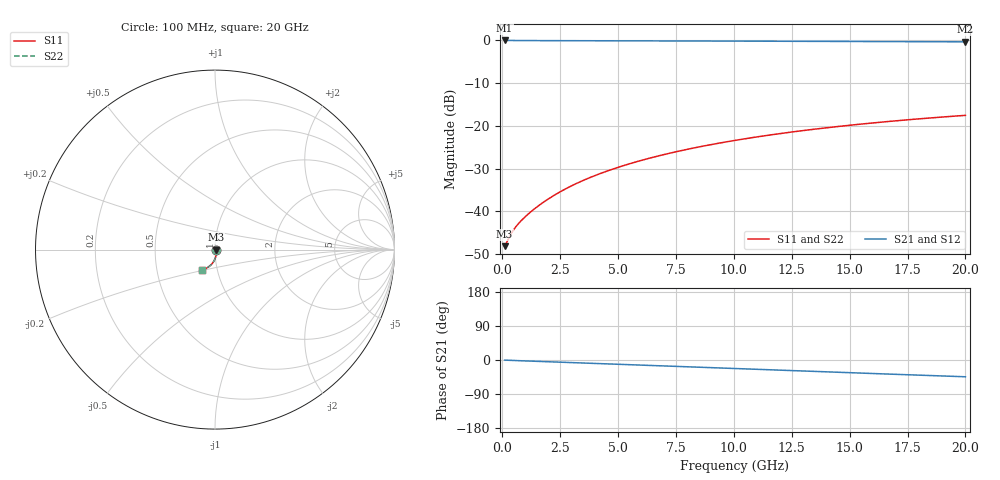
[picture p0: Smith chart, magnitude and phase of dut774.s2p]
! Touchstone file exported from HFSS 2026.1.0
!  File:  C:/ffzhzh/LocalFiles/Ansys_Project_Files/temp_train_TMRDL_774_1783155655_51560.aedt
!  Generated:  05:02:18 PM Jul  4, 2026
!  Design:  TMRDL
!  Project:  temp_train_TMRDL_774_1783155655_51560
! Variables:
!  h_bsmrdl = 2um
!  h_ox = 20um
!  h_rdl = 5um
!  h_sub = 80um
!  h_tmrdl = 3.14um
!  h_tsv = 80um
!  h_via = 3um
!  l_bsmrdl = 300um
!  l_sub = 1174.85um
!  l_tmrdl = 774.85um
!  m_sub = 200um
!  pitch = 26.91um
!  r_tsv = 6um
!  s_tmrdl = 10um
!  w_bsmrdl = 18um
!  w_sub = 500um
!  w_tmrdl = 24.61um
!  x_tsv_center1 = 787.155um
!  x_tsv_center2 = 1105.155um
!  x_tsv_center3 = 1904.615um
!  x_tsv_center4 = 2222.615um
!  x_tsv_center5 = 3022.075um
!  x_tsv_center6 = 3340.075um
# GHz S MA R 50.000000
! Terminal data exported
! Port[1] = TM_RDL1_1_T1
! Port[2] = TM_RDL1_1_T2
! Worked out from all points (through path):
!   200 points, 100 MHz to 20 GHz, reference 50 ohm
!   highest |S21| = -0.03 dB at 100 MHz (marker M1); lowest = -0.4 dB at 20 GHz (marker M2)
!   group delay of S21, straight-line fit = 6.13 ps
!   lowest |S11| = -48.1 dB at 100 MHz (marker M3), VSWR 1.01, Z = 50.4 + j0.03 ohm
!   |S11| at or under -10 dB: start of sweep to end of sweep
!   |S22| runs from -48.1 to -17.5 dB; largest |S21 - S12| = 4.4e-15
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0.1  0.003922 4.4  0.9961 -0.3  0.9961 -0.3  0.003922 4.4
! Gamma 0 0 0 0
! Port Impedance 50 0 50 0
0.4  0.005582 -1.1  0.9944 -1.1  0.9944 -1.1  0.005582 -1.1
0.5  0.006153 -6.1  0.9939 -1.3  0.9939 -1.3  0.006153 -6.1
0.6  0.006692 -11.3  0.9934 -1.5  0.9934 -1.5  0.006693 -11.3
0.7  0.007209 -16.3  0.993 -1.7  0.993 -1.7  0.00721 -16.3
0.9  0.008212 -25.3  0.9924 -2.2  0.9924 -2.2  0.008214 -25.3
1.2  0.009723 -36.3  0.9919 -2.9  0.9919 -2.9  0.009725 -36.3
1.7  0.01237 -49.3  0.9912 -4.0  0.9912 -4.0  0.01238 -49.3
2.2  0.01519 -58.0  0.9907 -5.1  0.9907 -5.1  0.0152 -58.0
2.8  0.01874 -65.2  0.9901 -6.5  0.9901 -6.5  0.01875 -65.2
3.5  0.02305 -71.2  0.9893 -8.1  0.9893 -8.1  0.02307 -71.1
4.2  0.02751 -75.6  0.9884 -9.7  0.9884 -9.7  0.02752 -75.6
5  0.03274 -79.7  0.9873 -11.5  0.9873 -11.5  0.03276 -79.6
5.9  0.03877 -83.5  0.9859 -13.5  0.9859 -13.5  0.03879 -83.4
6.8  0.04492 -86.8  0.9844 -15.5  0.9844 -15.5  0.04495 -86.7
8.4  0.05605 -92.0  0.9816 -19.1  0.9816 -19.1  0.05609 -91.9
10.1  0.06799 -97.0  0.9785 -22.8  0.9785 -22.8  0.06804 -96.9
11.7  0.07918 -101.4  0.9756 -26.3  0.9756 -26.3  0.07925 -101.3
13.4  0.09088 -106.0  0.9724 -30.0  0.9724 -30.0  0.09097 -105.8
15  0.1016 -110.1  0.9694 -33.5  0.9694 -33.5  0.1017 -109.9
16.7  0.1127 -114.4  0.9662 -37.2  0.9662 -37.2  0.1128 -114.2
20  0.1327 -122.4  0.96 -44.3  0.96 -44.3  0.1328 -122.2
